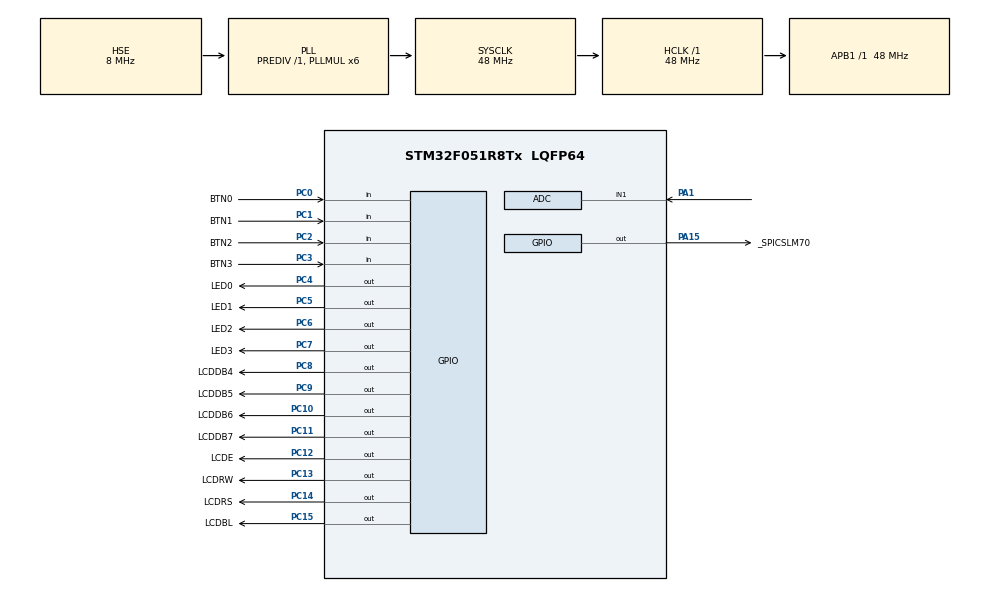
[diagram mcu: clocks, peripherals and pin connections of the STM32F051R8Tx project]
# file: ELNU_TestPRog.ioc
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Mcu.Family=STM32F0
Mcu.Name=STM32F051R8Tx
Mcu.Package=LQFP64
NVIC.TIM14_IRQn=true\:0\:0\:false\:false\:true\:true\:true
NVIC.TIM6_DAC_IRQn=true\:0\:0\:false\:false\:true\:true\:true
PA1.Mode=IN1
PA1.Signal=ADC_IN1
PA13.Mode=Serial_Wire
PA13.Signal=SYS_SWDIO
PA14.Mode=Serial_Wire
PA14.Signal=SYS_SWCLK
PA15.GPIO_Label=_SPICSLM70
PA15.PinState=GPIO_PIN_SET
PA15.Signal=GPIO_Output
PA5.GPIO_Label=SPISCK
PA5.Signal=SPI1_SCK
PA6.GPIO_Label=SPIMISO
PA6.Signal=SPI1_MISO
PC0.GPIO_Label=BTN0
PC0.Signal=GPIO_Input
PC1.GPIO_Label=BTN1
PC1.Signal=GPIO_Input
PC10.GPIO_Label=LCDDB6
PC10.Signal=GPIO_Output
PC11.GPIO_Label=LCDDB7
PC11.Signal=GPIO_Output
PC12.GPIO_Label=LCDE
PC12.Signal=GPIO_Output
PC13.GPIO_Label=LCDRW
PC13.Signal=GPIO_Output
PC14-OSC32_IN.GPIO_Label=LCDRS
PC14-OSC32_IN.Signal=GPIO_Output
PC15-OSC32_OUT.GPIO_Label=LCDBL
PC15-OSC32_OUT.Signal=GPIO_Output
PC2.GPIO_Label=BTN2
PC2.Signal=GPIO_Input
PC3.GPIO_Label=BTN3
PC3.Signal=GPIO_Input
PC4.GPIO_Label=LED0
PC4.PinState=GPIO_PIN_SET
PC4.Signal=GPIO_Output
PC5.GPIO_Label=LED1
PC5.PinState=GPIO_PIN_SET
PC5.Signal=GPIO_Output
PC6.GPIO_Label=LED2
PC6.PinState=GPIO_PIN_SET
PC6.Signal=GPIO_Output
PC7.GPIO_Label=LED3
PC7.PinState=GPIO_PIN_SET
PC7.Signal=GPIO_Output
PC8.GPIO_Label=LCDDB4
PC8.Signal=GPIO_Output
PC9.GPIO_Label=LCDDB5
PC9.Signal=GPIO_Output
PF0-OSC_IN.GPIO_Label=OSCIN
PF0-OSC_IN.Mode=HSE-External-Oscillator
PF0-OSC_IN.Signal=RCC_OSC_IN
PF1-OSC_OUT.GPIO_Label=OSCOUT
PF1-OSC_OUT.Mode=HSE-External-Oscillator
PF1-OSC_OUT.Signal=RCC_OSC_OUT
PF6.Signal=I2C2_SCL
PF7.Signal=I2C2_SDA
ProjectManager.HeapSize=0x200
ProjectManager.StackSize=0x400
ProjectManager.TargetToolchain=MDK-ARM V5
RCC.AHBFreq_Value=48000000
RCC.APB1Freq_Value=48000000
RCC.APB1TimFreq_Value=48000000
RCC.EnbaleCSS=true
RCC.HCLKFreq_Value=48000000
RCC.PLLMUL=RCC_PLL_MUL6
RCC.PLLSourceVirtual=RCC_PLLSOURCE_HSE
RCC.SYSCLKFreq_VALUE=48000000
RCC.SYSCLKSource=RCC_SYSCLKSOURCE_PLLCLK
TIM14.Period=47999
TIM6.Period=47999
TIM6.Prescaler=199
VP_TIM14_VS_ClockSourceINT.Mode=Enable_Timer
VP_TIM6_VS_ClockSourceINT.Mode=Enable_Timer
board=test01_blink

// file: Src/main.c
/* USER CODE BEGIN Header */
/**
  ******************************************************************************
  * @file           : main.c
  * @brief          : Main program body
  ******************************************************************************
  * @attention
  *
  * <h2><center>&copy; Copyright (c) 2021 STMicroelectronics.
  * All rights reserved.</center></h2>
  *
  * This software component is licensed by ST under BSD 3-Clause license,
  * the "License"; You may not use this file except in compliance with the
  * License. You may obtain a copy of the License at:
  *                        opensource.org/licenses/BSD-3-Clause
  *
  ******************************************************************************
  */
/* USER CODE END Header */
#include "main.h"
#include "adc.h"
#include "tim.h"
#include "gpio.h"

/* USER CODE BEGIN Includes */
#include <stdint.h>

#include "fonctionsTestELNU.h"
#include "stm32DriverLcd.h"
#include "stm32f0xx_it.h"
/* USER CODE END Includes */

/* USER CODE BEGIN PD */
enum etat{STATE_INIT, STATE_EXEC, STATE_WAIT};	// Définiton des différents états
/* USER CODE END PD */

void SystemClock_Config(void);

int main(void)
{
  /* USER CODE BEGIN 1 */
	//-- déclaration de variable --//
	uint8_t state = STATE_INIT;	// Variable de sauvegarde de l'état
	uint8_t positionLeds = 0;		// Variable de position de la led allumée
	uint16_t valBruteADC = 0;		// Variable de la valeur brute de l'adc
  /* USER CODE END 1 */

  /* MCU Configuration--------------------------------------------------------*/

  /* Reset of all peripherals, Initializes the Flash interface and the Systick. */
  HAL_Init();

  /* Configure the system clock */
  SystemClock_Config();

  /* Initialize all configured peripherals */
  MX_GPIO_Init();
  MX_TIM6_Init();
  MX_TIM14_Init();
  MX_ADC_Init();
  /* USER CODE BEGIN 2 */
	//-- initialisation LCD avec message utilisateur --//
	lcd_init();
	lcd_bl_on();
  lcd_gotoxy(1,1);
	printf_lcd("TEST ELNU 23");
	lcd_gotoxy(1,2);
	printf_lcd("SOLUS XXX");

	//-- activation du timer 6 avec interruption --//

	//-- calibration pour l'ADC --//

  /* USER CODE END 2 */

  /* Infinite loop */
  /* USER CODE BEGIN WHILE */
  while (1)
  {
		//-- Machine d'état --//
		switch(state)
		{
			//-- Initialisation --//
			case STATE_INIT:
				//-- appel fonction chenillard --//
				FctChenillard(positionLeds);
				//-- allumer les leds pendant 5s --//
				FctAllumerLeds();
				//-- eteindre les leds --//
				FctEteindreLeds();
				//-- lancement du timer14 avec interruption --//
				HAL_TIM_Base_Start_IT(&htim14);
				//-- mise à jour de la machine d'état --//
				state = STATE_WAIT;
				break;

			//-- Execution --//
			case STATE_EXEC:
				//-- lecture de l'ADC => canal 1 --//
				valBruteADC = FctLectureADC(0);
				//-- controle des seuils --//
				FctControlSeuilTension(valBruteADC);
				break;

			//-- Attente --//
			case STATE_WAIT:
				//-- ne fait rien --//
				break;
		}
    /* USER CODE END WHILE */

}

void SystemClock_Config(void)
{
  RCC_OscInitTypeDef RCC_OscInitStruct = {0};
  RCC_ClkInitTypeDef RCC_ClkInitStruct = {0};

  /** Initializes the RCC Oscillators according to the specified parameters
  * in the RCC_OscInitTypeDef structure.
  */
  RCC_OscInitStruct.OscillatorType = RCC_OSCILLATORTYPE_HSI14|RCC_OSCILLATORTYPE_HSE;
  RCC_OscInitStruct.HSEState = RCC_HSE_ON;
  RCC_OscInitStruct.HSI14State = RCC_HSI14_ON;
  RCC_OscInitStruct.HSI14CalibrationValue = 16;
  RCC_OscInitStruct.PLL.PLLState = RCC_PLL_ON;
  RCC_OscInitStruct.PLL.PLLSource = RCC_PLLSOURCE_HSE;
  RCC_OscInitStruct.PLL.PLLMUL = RCC_PLL_MUL6;
  RCC_OscInitStruct.PLL.PREDIV = RCC_PREDIV_DIV1;
  if (HAL_RCC_OscConfig(&RCC_OscInitStruct) != HAL_OK)
  {
    Error_Handler();
  }
  /** Initializes the CPU, AHB and APB buses clocks
  */
  RCC_ClkInitStruct.ClockType = RCC_CLOCKTYPE_HCLK|RCC_CLOCKTYPE_SYSCLK
                              |RCC_CLOCKTYPE_PCLK1;
  RCC_ClkInitStruct.SYSCLKSource = RCC_SYSCLKSOURCE_PLLCLK;
  RCC_ClkInitStruct.AHBCLKDivider = RCC_SYSCLK_DIV1;
  RCC_ClkInitStruct.APB1CLKDivider = RCC_HCLK_DIV1;

  if (HAL_RCC_ClockConfig(&RCC_ClkInitStruct, FLASH_LATENCY_1) != HAL_OK)
  {
    Error_Handler();
  }
  /** Enables the Clock Security System
  */
  HAL_RCC_EnableCSS();
}

/* USER CODE BEGIN 4 */
void HAL_TIM_PeriodElapsedCallback(TIM_HandleTypeDef* htim)		// Fonction d'interruption
{
	static uint8_t cntTimer14 = 0;

	if(cntTimer14 >= 1000)
	{

	}
}
/* USER CODE END 4 */

void Error_Handler(void)
{
  __disable_irq();
  while (1)
  {
  }
}

/************************ (C) COPYRIGHT STMicroelectronics *****END OF FILE****/
